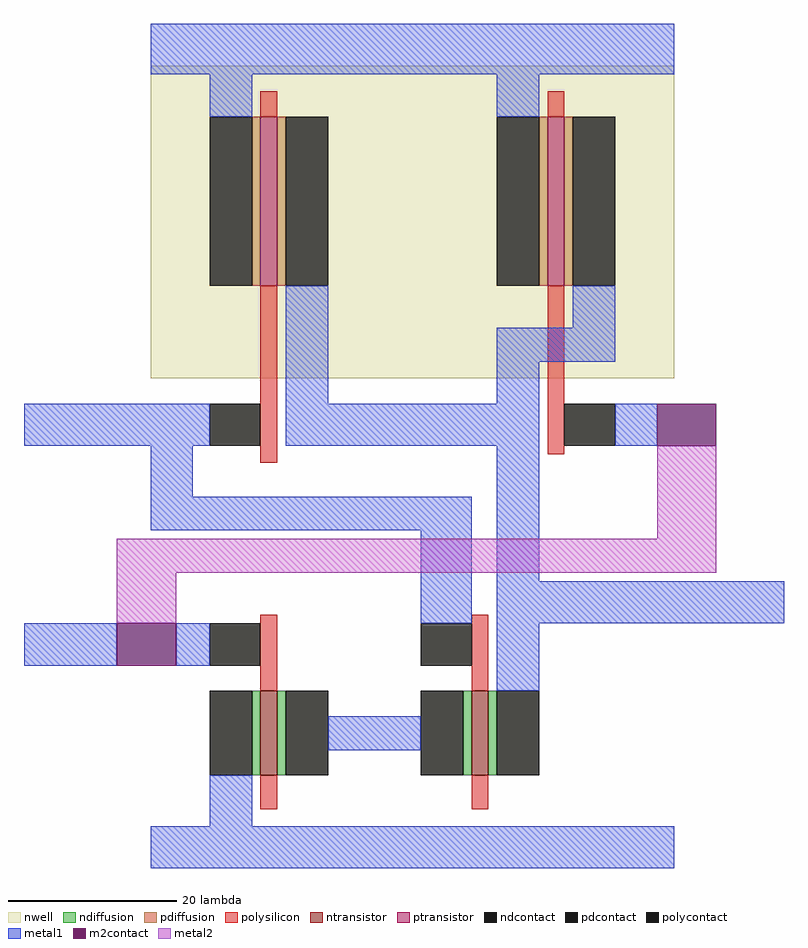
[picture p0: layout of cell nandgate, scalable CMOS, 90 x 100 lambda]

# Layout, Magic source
magic
tech scmos
<< nwell >>
rect 122 92 184 129
<< ntransistor >>
rect 135 45 137 55
rect 160 45 162 55
<< ptransistor >>
rect 135 103 137 123
rect 169 103 171 123
<< ndiffusion >>
rect 134 45 135 55
rect 137 45 138 55
rect 159 45 160 55
rect 162 45 163 55
<< pdiffusion >>
rect 134 103 135 123
rect 137 103 138 123
rect 168 103 169 123
rect 171 103 172 123
<< ndcontact >>
rect 129 45 134 55
rect 138 45 143 55
rect 154 45 159 55
rect 163 45 168 55
<< pdcontact >>
rect 129 103 134 123
rect 138 103 143 123
rect 163 103 168 123
rect 172 103 177 123
<< polysilicon >>
rect 135 123 137 126
rect 169 123 171 126
rect 135 82 137 103
rect 169 83 171 103
rect 135 55 137 64
rect 160 55 162 64
rect 135 41 137 45
rect 160 41 162 45
<< polycontact >>
rect 129 84 135 89
rect 171 84 177 89
rect 129 58 135 63
rect 154 58 160 63
<< metal1 >>
rect 122 128 184 134
rect 129 123 134 128
rect 163 123 168 128
rect 138 89 143 103
rect 172 98 177 103
rect 163 94 177 98
rect 163 89 168 94
rect 107 84 129 89
rect 138 84 168 89
rect 177 84 182 89
rect 122 78 127 84
rect 122 74 160 78
rect 154 63 160 74
rect 107 58 118 63
rect 125 58 129 63
rect 163 68 168 84
rect 163 63 197 68
rect 163 55 168 63
rect 143 48 154 52
rect 129 39 134 45
rect 122 34 184 39
<< m2contact >>
rect 182 84 189 89
rect 118 58 125 63
<< metal2 >>
rect 182 73 189 84
rect 118 69 189 73
rect 118 63 125 69
<< end >>
